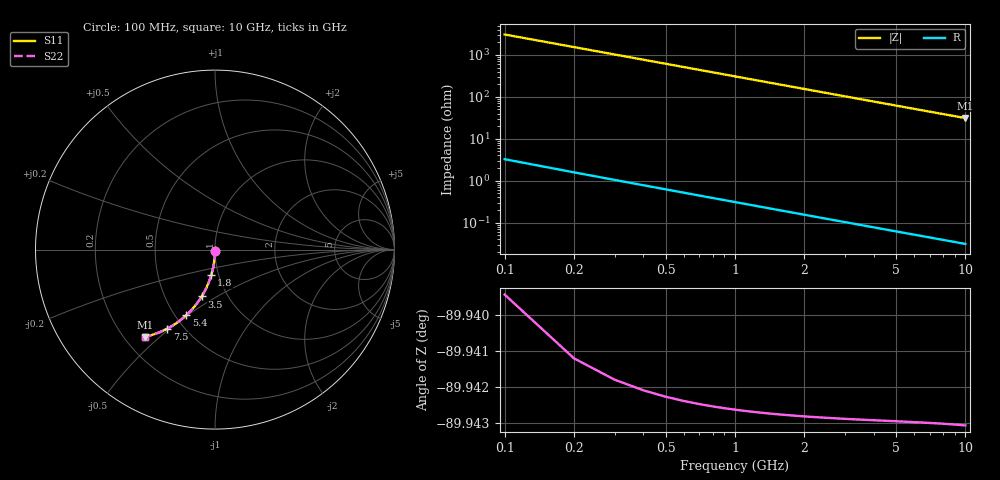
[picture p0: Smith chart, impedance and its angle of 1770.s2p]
# Hz S RI R 50.00
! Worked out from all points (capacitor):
!   100 points, 100 MHz to 10 GHz, reference 50 ohm
!   read as one part in shunt: C = 516 fF near 100 MHz
!   lowest |Z| = 31.2 ohm at 10 GHz (marker M1)
!   S11 on the Smith chart (normalised r, x): 100 MHz: 1.00, -0.02; 1.8 GHz: 0.92, -0.27; 3.5 GHz: 0.76, -0.43; 5.4 GHz: 0.57, -0.49; 7.5 GHz: 0.41, -0.49; 10 GHz: 0.28, -0.45
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1e8  -6.91e-05 -0.00809  0.9999 -0.00812  0.9999 -0.00812  -6.91e-05 -0.00809
2e8  -0.000274 -0.0162  0.9997 -0.0162  0.9997 -0.0162  -0.000274 -0.0162
3e8  -0.00061 -0.0243  0.9994 -0.0243  0.9994 -0.0243  -0.00061 -0.0243
4e8  -0.00108 -0.0323  0.9989 -0.0324  0.9989 -0.0324  -0.00108 -0.0323
5e8  -0.00167 -0.0404  0.9983 -0.0405  0.9983 -0.0405  -0.00167 -0.0404
6e8  -0.0024 -0.0484  0.9976 -0.0486  0.9976 -0.0486  -0.0024 -0.0484
8e8  -0.00424 -0.0644  0.9957 -0.0646  0.9957 -0.0646  -0.00424 -0.0644
1.1e9  -0.00796 -0.0882  0.992 -0.0885  0.992 -0.0885  -0.00796 -0.0882
1.4e9  -0.0128 -0.1117  0.9872 -0.1121  0.9872 -0.1121  -0.0128 -0.1117
1.8e9  -0.0209 -0.1424  0.9791 -0.1429  0.9791 -0.1429  -0.0209 -0.1424
2.1e9  -0.0282 -0.1648  0.9718 -0.1654  0.9718 -0.1654  -0.0282 -0.1648
2.5e9  -0.0395 -0.1939  0.9605 -0.1945  0.9605 -0.1945  -0.0395 -0.1939
2.9e9  -0.0523 -0.2218  0.9477 -0.2225  0.9477 -0.2225  -0.0523 -0.2218
3.4e9  -0.0704 -0.2549  0.9296 -0.2558  0.9296 -0.2558  -0.0704 -0.2549
3.5e9  -0.0743 -0.2612  0.9257 -0.2622  0.9257 -0.2622  -0.0743 -0.2612
4.3e9  -0.1078 -0.309  0.8922 -0.3102  0.8922 -0.3102  -0.1078 -0.309
5.1e9  -0.1449 -0.3509  0.855 -0.3522  0.855 -0.3522  -0.1449 -0.3509
5.4e9  -0.1596 -0.365  0.8404 -0.3664  0.8404 -0.3664  -0.1596 -0.365
6.7e9  -0.2256 -0.4166  0.7744 -0.4184  0.7744 -0.4184  -0.2256 -0.4166
7.5e9  -0.267 -0.4409  0.733 -0.4429  0.733 -0.4429  -0.267 -0.4409
8.4e9  -0.3132 -0.4621  0.6868 -0.4644  0.6868 -0.4644  -0.3132 -0.4621
1e10  -0.3917 -0.4863  0.6082 -0.489  0.6082 -0.489  -0.3917 -0.4863
